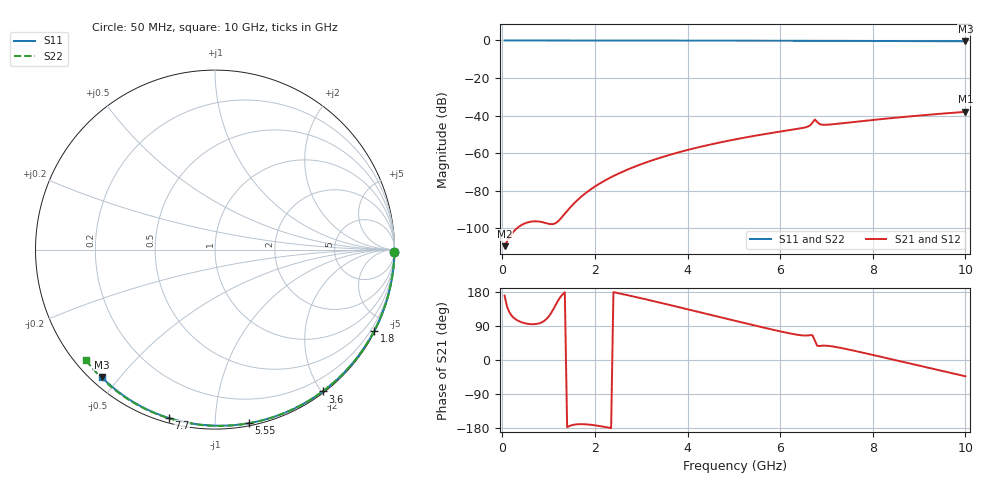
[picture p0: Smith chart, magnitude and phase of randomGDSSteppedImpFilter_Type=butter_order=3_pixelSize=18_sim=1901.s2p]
! freq	dB(S11)	phase(S11)	dB(S12)	phase(S12)
!  dB(S21)	phase(S21)	dB(S22)	phase(S22)
!S-par simulation data
#  GHz  S  DB  R 50
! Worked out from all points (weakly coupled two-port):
!   200 points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, 50 MHz to 10 GHz, reference 50 ohm
!   highest |S21| = -37.97 dB at 10 GHz (marker M1); lowest = -109.5 dB at 50 MHz (marker M2)
!   lowest |S11| = -0.4 dB at 10 GHz (marker M3), VSWR 39.14, Z = 1.53 - j22.4 ohm
!   |S11| at or under -10 dB: nowhere
!   |S22| runs from -0.5 to 0.0 dB; largest |S21 - S12| = 0
!   S11 on the Smith chart (normalised r, x): 50 MHz: open; 1.8 GHz: 0.04, -4.16; 3.6 GHz: 0.02, -2.01; 5.55 GHz: 0.02, -1.22; 7.7 GHz: 0.02, -0.76; 10 GHz: 0.03, -0.45
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0.05  -0.00 -0.8  -109.46 170.0  -109.46 170.0  -0.00 -0.8
0.9  -0.02 -13.6  -96.89 102.7  -96.89 102.7  -0.02 -14.5
1.75  -0.03 -26.3  -82.20 -169.4  -82.20 -169.4  -0.04 -27.9
1.8  -0.03 -27.0  -81.22 -169.7  -81.22 -169.7  -0.04 -28.7
1.85  -0.04 -27.8  -80.29 -170.2  -80.29 -170.2  -0.04 -29.5
1.9  -0.04 -28.5  -79.40 -170.8  -79.40 -170.8  -0.04 -30.3
2.25  -0.04 -33.6  -74.06 -177.4  -74.06 -177.4  -0.05 -35.7
2.65  -0.05 -39.4  -69.28 172.6  -69.28 172.6  -0.05 -41.8
3.4  -0.07 -50.1  -62.48 151.5  -62.48 151.5  -0.07 -53.1
3.6  -0.07 -52.8  -60.98 145.7  -60.98 145.7  -0.08 -56.0
4.3  -0.09 -62.4  -56.46 125.0  -56.46 125.0  -0.09 -66.2
5.05  -0.11 -72.4  -52.54 102.8  -52.54 102.8  -0.12 -76.7
5.55  -0.13 -78.9  -50.31 88.2  -50.31 88.2  -0.14 -83.5
6.5  -0.17 -90.8  -46.50 64.7  -46.50 64.7  -0.18 -96.3
6.65  -0.18 -92.7  -45.12 65.7  -45.12 65.7  -0.21 -98.5
6.7  -0.18 -93.3  -43.69 65.1  -43.69 65.1  -0.26 -99.3
6.75  -0.18 -93.9  -42.05 51.3  -42.05 51.3  -0.36 -99.4
6.85  -0.19 -95.1  -44.45 36.9  -44.45 36.9  -0.24 -100.2
6.95  -0.19 -96.3  -44.89 38.0  -44.89 38.0  -0.22 -101.6
7.7  -0.24 -105.3  -43.08 21.7  -43.08 21.7  -0.26 -111.3
8.35  -0.29 -112.9  -41.44 3.6  -41.44 3.6  -0.31 -119.4
10  -0.44 -131.7  -37.97 -43.0  -37.97 -43.0  -0.48 -139.5
